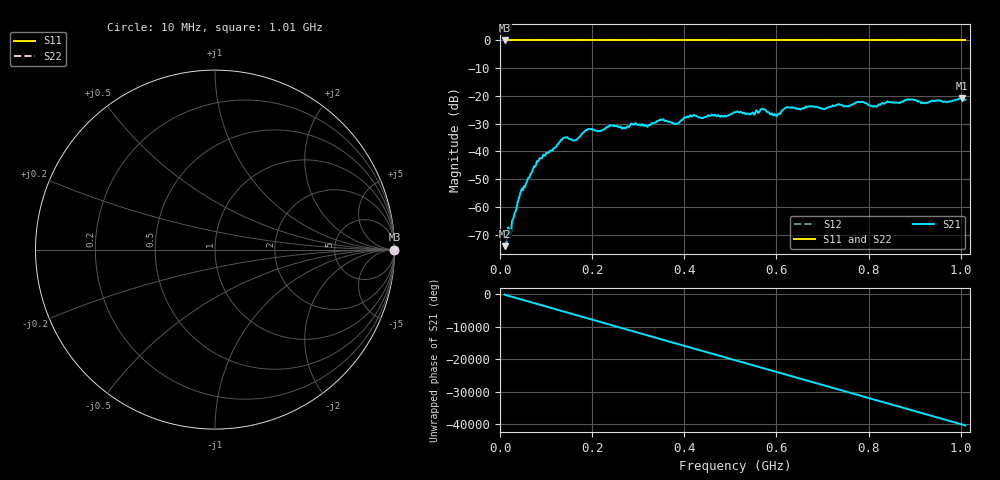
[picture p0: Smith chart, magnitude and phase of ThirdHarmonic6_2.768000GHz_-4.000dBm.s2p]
! 8/17/2025 7:01:24 AM
! C:\ANRITSUVNA\TEMP\TEMP.S2P
! CHANNEL.1
! TR.MEASUREMENT
! RAW.DATA
! RF.CORRECTION.OFF
! AVERAGING.OFF
! IF.BANDWIDTH: 5KHZ
! SWEEPTYPE:  FREQ.SWEEP(Linear)
! Reference Plane Port Info
! PORT:  PORT1  PORT2
! DISTANCE:  0  m  0  m
! TIME:  0  s  0  s
! PHASE.OFFSET:  0  deg.  0  deg.
! LOSS:  0  dB  0  dB
! REF.LOSS:  0  dB  0  dB
! REF.FREQ:  0  Hz  0  Hz
! Power Info
! POWER:  -20  dBm  -20  dBm
! EFF.POWER:  -20  dBm  -20  dBm
! SOURCE.ATTEN:  0  dB  0  dB
! TEST.ATTEN:  0  dB  0  dB
# GHZ S RI R 50.0
! FREQ.GHZ  S11RE  S11IM  S21RE  S21IM  S12RE  S12IM  S22RE  S22IM
!; PortSelection: Port_12
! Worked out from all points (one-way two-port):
!   501 points, 10 MHz to 1.01 GHz, reference 50 ohm
!   highest |S21| = -20.71 dB at 1.002 GHz (marker M1); lowest = -74.1 dB at 10 MHz (marker M2)
!   lowest |S11| = 0.0 dB at 10 MHz (marker M3)
!   |S11| at or under -10 dB: nowhere
!   |S22| runs from 0.0 to 0.0 dB; largest |S21 - S12| = 1.1
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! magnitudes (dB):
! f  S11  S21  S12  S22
! 10 MHz  0.0  -74.1  0.0  0.0
! 26 MHz  0.0  -65.1  0.0  0.0
! 44 MHz  0.0  -55.2  0.0  0.0
! 84 MHz  0.0  -43.3  0.0  0.0
! 136 MHz  0.0  -35.4  0.0  0.0
! 162 MHz  0.0  -36.0  0.0  0.0
! 178 MHz  0.0  -33.6  0.0  0.0
! 192 MHz  0.0  -31.9  0.0  0.0
! 322 MHz  0.0  -30.7  0.0  0.0
! 344 MHz  0.0  -29.0  0.0  0.0
! 384 MHz  0.0  -30.0  0.0  0.0
! 410 MHz  0.0  -27.5  0.0  0.0
! 510 MHz  0.0  -25.9  0.0  0.0
! 570 MHz  0.0  -24.7  0.0  0.0
! 598 MHz  0.0  -26.8  0.0  0.0
! 622 MHz  0.0  -24.0  0.0  0.0
! 678 MHz  0.0  -23.7  0.0  0.0
! 780 MHz  0.0  -22.2  0.0  0.0
! 814 MHz  0.0  -23.7  0.0  0.0
! 844 MHz  0.0  -22.2  0.0  0.0
! 1.002 GHz  0.0  -20.7  0.0  0.0
! 1.01 GHz  0.0  -21.4  0.0  0.0
